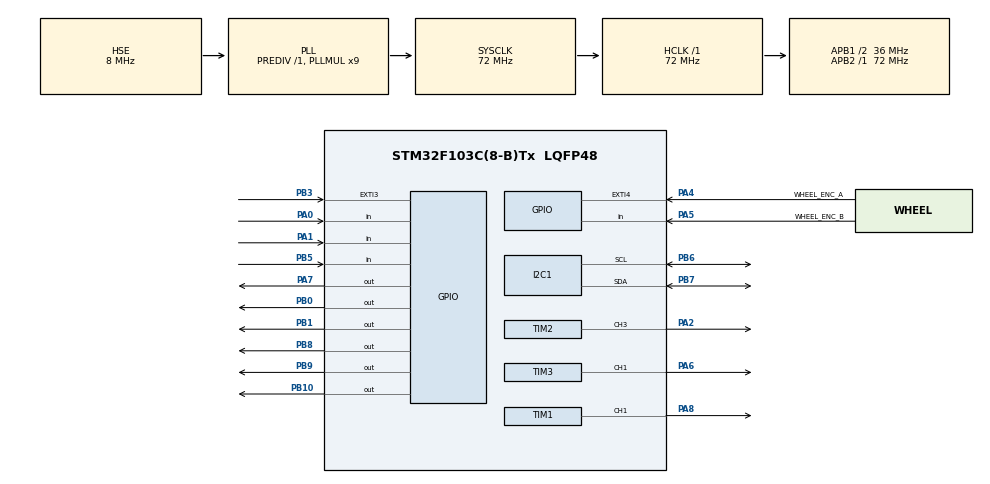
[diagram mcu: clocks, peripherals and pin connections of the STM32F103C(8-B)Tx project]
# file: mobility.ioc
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Mcu.Family=STM32F1
Mcu.Name=STM32F103C(8-B)Tx
Mcu.Package=LQFP48
NVIC.EXTI4_IRQn=true\:5\:0\:true\:false\:true\:true\:true\:true
NVIC.I2C1_ER_IRQn=true\:0\:0\:false\:false\:true\:true\:true\:true
NVIC.I2C1_EV_IRQn=true\:0\:0\:false\:false\:true\:true\:true\:true
NVIC.PriorityGroup=NVIC_PRIORITYGROUP_4
PA0-WKUP.GPIO_PuPd=GPIO_PULLUP
PA0-WKUP.Signal=GPIO_Input
PA1.GPIO_PuPd=GPIO_PULLUP
PA1.Signal=GPIO_Input
PA13.Mode=Serial_Wire
PA13.Signal=SYS_JTMS-SWDIO
PA14.Mode=Serial_Wire
PA14.Signal=SYS_JTCK-SWCLK
PA2.Signal=S_TIM2_CH3
PA4.GPIO_Label=WHEEL_ENC_A
PA4.Signal=GPXTI4
PA5.GPIO_Label=WHEEL_ENC_B
PA5.Signal=GPIO_Input
PA6.Signal=S_TIM3_CH1
PA7.Signal=GPIO_Output
PA8.Signal=S_TIM1_CH1
PB0.Signal=GPIO_Output
PB1.Signal=GPIO_Output
PB10.Signal=GPIO_Output
PB3.Signal=GPXTI3
PB5.Signal=GPIO_Input
PB6.Mode=I2C
PB6.Signal=I2C1_SCL
PB7.Mode=I2C
PB7.Signal=I2C1_SDA
PB8.Signal=GPIO_Output
PB9.Signal=GPIO_Output
PD0-OSC_IN.Mode=HSE-External-Oscillator
PD0-OSC_IN.Signal=RCC_OSC_IN
PD1-OSC_OUT.Mode=HSE-External-Oscillator
PD1-OSC_OUT.Signal=RCC_OSC_OUT
ProjectManager.HeapSize=0x200
ProjectManager.StackSize=0x400
ProjectManager.TargetToolchain=STM32CubeIDE
RCC.AHBFreq_Value=72000000
RCC.APB1CLKDivider=RCC_HCLK_DIV2
RCC.APB1Freq_Value=36000000
RCC.APB1TimFreq_Value=72000000
RCC.APB2Freq_Value=72000000
RCC.APB2TimFreq_Value=72000000
RCC.HCLKFreq_Value=72000000
RCC.PLLMUL=RCC_PLL_MUL9
RCC.PLLSourceVirtual=RCC_PLLSOURCE_HSE
RCC.SYSCLKFreq_VALUE=72000000
RCC.SYSCLKSource=RCC_SYSCLKSOURCE_PLLCLK
RCC.USBFreq_Value=72000000
SH.S_TIM1_CH1.0=TIM1_CH1,PWM Generation1 CH1
SH.S_TIM2_CH3.0=TIM2_CH3,PWM Generation3 CH3
SH.S_TIM3_CH1.0=TIM3_CH1,PWM Generation1 CH1
TIM1.Channel-PWM\ Generation1\ CH1=TIM_CHANNEL_1
TIM1.Period=999
TIM1.Prescaler=71
TIM2.Channel-PWM\ Generation3\ CH3=TIM_CHANNEL_3
TIM2.Period=999
TIM2.Prescaler=71
TIM3.Channel-PWM\ Generation1\ CH1=TIM_CHANNEL_1
TIM3.Period=999
TIM3.Prescaler=71
board=custom

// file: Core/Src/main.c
/* USER CODE BEGIN Header */
/**
  ******************************************************************************
  * @file           : main.c
  * @brief          : Main program body
  ******************************************************************************
  * @attention
  *
  * Copyright (c) 2026 STMicroelectronics.
  * All rights reserved.
  *
  * This software is licensed under terms that can be found in the LICENSE file
  * in the root directory of this software component.
  * If no LICENSE file comes with this software, it is provided AS-IS.
  *
  ******************************************************************************
  */
/* USER CODE END Header */
#include "main.h"

/* USER CODE BEGIN Includes */
#include <stdlib.h>
#include "carrier_test.h"
/* USER CODE END Includes */

I2C_HandleTypeDef hi2c1;

TIM_HandleTypeDef htim1;
TIM_HandleTypeDef htim2;
TIM_HandleTypeDef htim3;

/* USER CODE BEGIN PV */
typedef enum { CORNER_LF = 0, CORNER_RF = 1, CORNER_LR = 2, CORNER_RR = 3 } CornerId;
CornerId cornerId;
uint8_t myAddress;

uint8_t i2c_rx_buf[1];
uint8_t i2c_tx_buf[18];
volatile char lastCommand = 'k';
volatile uint32_t command_received_ms = 0;
volatile uint8_t command_link_error = 0;
volatile uint8_t command_stop_pending = 0;
CarrierTest carrier_test = {0}; /* Live: state/error/clutch_mode/clutch_pwm_percent */
static uint32_t control_tick_ms = 0;

uint8_t currentState = 0;
int16_t outputAngleTenths = 0;
volatile int32_t encoderCount = 0;
volatile int32_t motor2_encoder_count = 0; /* PB3 rising edges, x1 decoding. */

/* USER CODE END PV */

void SystemClock_Config(void);
static void MX_GPIO_Init(void);
static void MX_I2C1_Init(void);
static void MX_TIM1_Init(void);
static void MX_TIM3_Init(void);
static void MX_TIM2_Init(void);
/* USER CODE BEGIN PFP */
void ReadCornerId(void);
void ApplyCommand(char cmd);
void SetMotor(TIM_HandleTypeDef *htim, uint32_t channel,
              GPIO_TypeDef *dir1Port, uint16_t dir1Pin,
              GPIO_TypeDef *dir2Port, uint16_t dir2Pin,
              int16_t speedPercent);
void PrepareStatusBuffer(void);
/* USER CODE END PFP */

/* USER CODE BEGIN 0 */
void ReadCornerId(void)
{
  uint8_t bitA = (HAL_GPIO_ReadPin(GPIOA, GPIO_PIN_0) == GPIO_PIN_RESET) ? 0U : 1U;
  uint8_t bitB = (HAL_GPIO_ReadPin(GPIOA, GPIO_PIN_1) == GPIO_PIN_RESET) ? 0U : 1U;
  cornerId = (CornerId)((bitB << 1) | bitA);
  myAddress = (uint8_t)(0x10U + (uint8_t)cornerId);
}

void SetMotor(TIM_HandleTypeDef *htim, uint32_t channel,
              GPIO_TypeDef *dir1Port, uint16_t dir1Pin,
              GPIO_TypeDef *dir2Port, uint16_t dir2Pin,
              int16_t speedPercent)
{
  if (speedPercent > 100) speedPercent = 100;
  if (speedPercent < -100) speedPercent = -100;

  if (speedPercent > 0) {
    HAL_GPIO_WritePin(dir1Port, dir1Pin, GPIO_PIN_SET);
    HAL_GPIO_WritePin(dir2Port, dir2Pin, GPIO_PIN_RESET);
  } else if (speedPercent < 0) {
    HAL_GPIO_WritePin(dir1Port, dir1Pin, GPIO_PIN_RESET);
    HAL_GPIO_WritePin(dir2Port, dir2Pin, GPIO_PIN_SET);
  } else {
    HAL_GPIO_WritePin(dir1Port, dir1Pin, GPIO_PIN_RESET);
    HAL_GPIO_WritePin(dir2Port, dir2Pin, GPIO_PIN_RESET);
  }

  __HAL_TIM_SET_COMPARE(htim, channel,
      (uint32_t)((abs(speedPercent) * (int32_t)htim->Init.Period) / 100));
}

void ApplyCommand(char cmd)
{
  /* Bench build: motor1 disabled; motor2 and motor3 are mutually interlocked. */
  (void)cmd;
  SetMotor(&htim3, TIM_CHANNEL_1, GPIOA, GPIO_PIN_7, GPIOB, GPIO_PIN_0, 0);
  SetMotor(&htim2, TIM_CHANNEL_3, GPIOB, GPIO_PIN_8, GPIOB, GPIO_PIN_9,
           carrier_test.clutch_pwm_percent);
  SetMotor(&htim1, TIM_CHANNEL_1, GPIOB, GPIO_PIN_1, GPIOB, GPIO_PIN_10,
           carrier_test.pwm_percent);
}

void PrepareStatusBuffer(void)
{
  uint32_t motor2_snapshot = (uint32_t)motor2_encoder_count;
  uint32_t target_snapshot = (uint32_t)carrier_test.target_count;
  uint16_t step_snapshot = (uint16_t)carrier_test.target_step;
  i2c_tx_buf[0] = currentState;
  i2c_tx_buf[1] = (uint8_t)(outputAngleTenths & 0xFF);
  i2c_tx_buf[2] = (uint8_t)(((uint16_t)outputAngleTenths >> 8) & 0xFFU);
  i2c_tx_buf[3] = 7U; /* Motor2 tuning telemetry protocol version. */
  i2c_tx_buf[4] = carrier_test.clutch_mode;
  i2c_tx_buf[5] = (uint8_t)(int8_t)carrier_test.clutch_pwm_percent;
  i2c_tx_buf[6] = carrier_test.error;
  for (uint32_t i = 0; i < 4U; ++i) {
    i2c_tx_buf[7U + i] = (uint8_t)(motor2_snapshot >> (8U * i));
    i2c_tx_buf[11U + i] = (uint8_t)(target_snapshot >> (8U * i));
  }
  i2c_tx_buf[15] = (uint8_t)(int8_t)carrier_test.pwm_percent;
  i2c_tx_buf[16] = (uint8_t)(step_snapshot & 0xFFU);
  i2c_tx_buf[17] = (uint8_t)(step_snapshot >> 8);
}

void HAL_I2C_AddrCallback(I2C_HandleTypeDef *hi2c, uint8_t TransferDirection,
                          uint16_t AddrMatchCode)
{
  (void)AddrMatchCode;
  if (TransferDirection == I2C_DIRECTION_TRANSMIT) {
    HAL_I2C_Slave_Sequential_Receive_IT(hi2c, i2c_rx_buf, 1, I2C_FIRST_AND_LAST_FRAME);
  } else {
    PrepareStatusBuffer();
    HAL_I2C_Slave_Sequential_Transmit_IT(hi2c, i2c_tx_buf, sizeof(i2c_tx_buf), I2C_FIRST_AND_LAST_FRAME);
  }
}

void HAL_I2C_SlaveRxCpltCallback(I2C_HandleTypeDef *hi2c)
{
  lastCommand = (char)i2c_rx_buf[0];
  command_received_ms = HAL_GetTick();
  if (lastCommand == 'k') command_stop_pending = 1;
  if (lastCommand != 'k' && lastCommand != 'a' && lastCommand != 'b' &&
      lastCommand != 'u' && lastCommand != 'o' &&
      lastCommand != 'z' && lastCommand != 'p' &&
      lastCommand != 'n' && lastCommand != 'r' && lastCommand != 'h') command_link_error = 1;
  HAL_I2C_EnableListen_IT(hi2c);
}

void HAL_I2C_SlaveTxCpltCallback(I2C_HandleTypeDef *hi2c)
{
  HAL_I2C_EnableListen_IT(hi2c);
}

void HAL_I2C_ErrorCallback(I2C_HandleTypeDef *hi2c)
{
  command_link_error = 1;
  HAL_I2C_DeInit(hi2c);
  HAL_I2C_Init(hi2c);
  HAL_I2C_EnableListen_IT(hi2c);
}

void HAL_GPIO_EXTI_Callback(uint16_t GPIO_Pin)
{
  if (GPIO_Pin == MOTOR2_ENC_A_Pin)
  {
    /* Explicit wrap avoids signed overflow after prolonged operation. */
    if (HAL_GPIO_ReadPin(MOTOR2_ENC_B_GPIO_Port, MOTOR2_ENC_B_Pin) == GPIO_PIN_RESET) {
      motor2_encoder_count = (motor2_encoder_count == INT32_MAX) ? INT32_MIN : motor2_encoder_count + 1;
    } else {
      motor2_encoder_count = (motor2_encoder_count == INT32_MIN) ? INT32_MAX : motor2_encoder_count - 1;
    }
  }
  if (GPIO_Pin == GPIO_PIN_4)
  {
    if (HAL_GPIO_ReadPin(GPIOA, GPIO_PIN_5) == GPIO_PIN_RESET)
    {
      encoderCount++;
    }
    else
    {
      encoderCount--;
    }
  }
}

/* USER CODE END 0 */

int main(void)
{

  /* MCU Configuration--------------------------------------------------------*/

  /* Reset of all peripherals, Initializes the Flash interface and the Systick. */
  HAL_Init();

  /* Configure the system clock */
  SystemClock_Config();

  /* Initialize all configured peripherals */
  MX_GPIO_Init();
  MX_I2C1_Init();
  MX_TIM1_Init();
  MX_TIM3_Init();
  MX_TIM2_Init();
  /* USER CODE BEGIN 2 */
  ReadCornerId();

  hi2c1.Init.OwnAddress1 = (uint32_t)myAddress << 1;
  if (HAL_I2C_Init(&hi2c1) != HAL_OK)
  {
    Error_Handler();
  }

  ApplyCommand('k');

  if (HAL_TIM_PWM_Start(&htim1, TIM_CHANNEL_1) != HAL_OK) Error_Handler();
  if (HAL_TIM_PWM_Start(&htim2, TIM_CHANNEL_3) != HAL_OK) Error_Handler();
  if (HAL_TIM_PWM_Start(&htim3, TIM_CHANNEL_1) != HAL_OK) Error_Handler();
  if (HAL_I2C_EnableListen_IT(&hi2c1) != HAL_OK) Error_Handler();

  /* USER CODE END 2 */

  /* Infinite loop */
  /* USER CODE BEGIN WHILE */
  while (1)
  {
    uint32_t now = HAL_GetTick();
    if (now - control_tick_ms >= 10U) {
      control_tick_ms = now;
      uint32_t primask = __get_PRIMASK();
      __disable_irq();
      char command = lastCommand;
      uint32_t received = command_received_ms;
      int32_t count = motor2_encoder_count;
      int32_t wheel = encoderCount;
      uint8_t link_error = command_link_error;
      command_link_error = 0;
      if (command_stop_pending) {
        command = 'k';
        command_stop_pending = 0;
      }
      __set_PRIMASK(primask);
      CarrierTick(&carrier_test, now, count, wheel, command, received, link_error);
      ApplyCommand(command);
      /* Publish the pair atomically against I2C status interrupts. */
      primask = __get_PRIMASK();
      __disable_irq();
      currentState = carrier_test.state;
      outputAngleTenths = carrier_test.angle_tenths;
      __set_PRIMASK(primask);
    }

    if (hi2c1.State == HAL_I2C_STATE_READY)
    {
      HAL_I2C_EnableListen_IT(&hi2c1);
    }
    /* USER CODE END WHILE */

  }
}

void SystemClock_Config(void)
{
  RCC_OscInitTypeDef RCC_OscInitStruct = {0};
  RCC_ClkInitTypeDef RCC_ClkInitStruct = {0};

  /** Initializes the RCC Oscillators according to the specified parameters
  * in the RCC_OscInitTypeDef structure.
  */
  RCC_OscInitStruct.OscillatorType = RCC_OSCILLATORTYPE_HSE;
  RCC_OscInitStruct.HSEState = RCC_HSE_ON;
  RCC_OscInitStruct.HSEPredivValue = RCC_HSE_PREDIV_DIV1;
  RCC_OscInitStruct.HSIState = RCC_HSI_ON;
  RCC_OscInitStruct.PLL.PLLState = RCC_PLL_ON;
  RCC_OscInitStruct.PLL.PLLSource = RCC_PLLSOURCE_HSE;
  RCC_OscInitStruct.PLL.PLLMUL = RCC_PLL_MUL9;
  if (HAL_RCC_OscConfig(&RCC_OscInitStruct) != HAL_OK)
  {
    Error_Handler();
  }

  /** Initializes the CPU, AHB and APB buses clocks
  */
  RCC_ClkInitStruct.ClockType = RCC_CLOCKTYPE_HCLK|RCC_CLOCKTYPE_SYSCLK
                              |RCC_CLOCKTYPE_PCLK1|RCC_CLOCKTYPE_PCLK2;
  RCC_ClkInitStruct.SYSCLKSource = RCC_SYSCLKSOURCE_PLLCLK;
  RCC_ClkInitStruct.AHBCLKDivider = RCC_SYSCLK_DIV1;
  RCC_ClkInitStruct.APB1CLKDivider = RCC_HCLK_DIV2;
  RCC_ClkInitStruct.APB2CLKDivider = RCC_HCLK_DIV1;

  if (HAL_RCC_ClockConfig(&RCC_ClkInitStruct, FLASH_LATENCY_2) != HAL_OK)
  {
    Error_Handler();
  }
}

static void MX_I2C1_Init(void)
{

  hi2c1.Instance = I2C1;
  hi2c1.Init.ClockSpeed = 100000;
  hi2c1.Init.DutyCycle = I2C_DUTYCYCLE_2;
  hi2c1.Init.OwnAddress1 = 0;
  hi2c1.Init.AddressingMode = I2C_ADDRESSINGMODE_7BIT;
  hi2c1.Init.DualAddressMode = I2C_DUALADDRESS_DISABLE;
  hi2c1.Init.OwnAddress2 = 0;
  hi2c1.Init.GeneralCallMode = I2C_GENERALCALL_DISABLE;
  hi2c1.Init.NoStretchMode = I2C_NOSTRETCH_DISABLE;
  if (HAL_I2C_Init(&hi2c1) != HAL_OK)
  {
    Error_Handler();
  }

}

static void MX_TIM1_Init(void)
{

  TIM_MasterConfigTypeDef sMasterConfig = {0};
  TIM_OC_InitTypeDef sConfigOC = {0};
  TIM_BreakDeadTimeConfigTypeDef sBreakDeadTimeConfig = {0};

  htim1.Instance = TIM1;
  htim1.Init.Prescaler = 71;
  htim1.Init.CounterMode = TIM_COUNTERMODE_UP;
  htim1.Init.Period = 999;
  htim1.Init.ClockDivision = TIM_CLOCKDIVISION_DIV1;
  htim1.Init.RepetitionCounter = 0;
  htim1.Init.AutoReloadPreload = TIM_AUTORELOAD_PRELOAD_DISABLE;
  if (HAL_TIM_PWM_Init(&htim1) != HAL_OK)
  {
    Error_Handler();
  }
  sMasterConfig.MasterOutputTrigger = TIM_TRGO_RESET;
  sMasterConfig.MasterSlaveMode = TIM_MASTERSLAVEMODE_DISABLE;
  if (HAL_TIMEx_MasterConfigSynchronization(&htim1, &sMasterConfig) != HAL_OK)
  {
    Error_Handler();
  }
  sConfigOC.OCMode = TIM_OCMODE_PWM1;
  sConfigOC.Pulse = 0;
  sConfigOC.OCPolarity = TIM_OCPOLARITY_HIGH;
  sConfigOC.OCNPolarity = TIM_OCNPOLARITY_HIGH;
  sConfigOC.OCFastMode = TIM_OCFAST_DISABLE;
  sConfigOC.OCIdleState = TIM_OCIDLESTATE_RESET;
  sConfigOC.OCNIdleState = TIM_OCNIDLESTATE_RESET;
  if (HAL_TIM_PWM_ConfigChannel(&htim1, &sConfigOC, TIM_CHANNEL_1) != HAL_OK)
  {
    Error_Handler();
  }
  sBreakDeadTimeConfig.OffStateRunMode = TIM_OSSR_DISABLE;
  sBreakDeadTimeConfig.OffStateIDLEMode = TIM_OSSI_DISABLE;
  sBreakDeadTimeConfig.LockLevel = TIM_LOCKLEVEL_OFF;
  sBreakDeadTimeConfig.DeadTime = 0;
  sBreakDeadTimeConfig.BreakState = TIM_BREAK_DISABLE;
  sBreakDeadTimeConfig.BreakPolarity = TIM_BREAKPOLARITY_HIGH;
  sBreakDeadTimeConfig.AutomaticOutput = TIM_AUTOMATICOUTPUT_DISABLE;
  if (HAL_TIMEx_ConfigBreakDeadTime(&htim1, &sBreakDeadTimeConfig) != HAL_OK)
  {
    Error_Handler();
  }
  HAL_TIM_MspPostInit(&htim1);

}

static void MX_TIM2_Init(void)
{

  TIM_MasterConfigTypeDef sMasterConfig = {0};
  TIM_OC_InitTypeDef sConfigOC = {0};

  htim2.Instance = TIM2;
  htim2.Init.Prescaler = 71;
  htim2.Init.CounterMode = TIM_COUNTERMODE_UP;
  htim2.Init.Period = 999;
  htim2.Init.ClockDivision = TIM_CLOCKDIVISION_DIV1;
  htim2.Init.AutoReloadPreload = TIM_AUTORELOAD_PRELOAD_DISABLE;
  if (HAL_TIM_PWM_Init(&htim2) != HAL_OK)
  {
    Error_Handler();
  }
  sMasterConfig.MasterOutputTrigger = TIM_TRGO_RESET;
  sMasterConfig.MasterSlaveMode = TIM_MASTERSLAVEMODE_DISABLE;
  if (HAL_TIMEx_MasterConfigSynchronization(&htim2, &sMasterConfig) != HAL_OK)
  {
    Error_Handler();
  }
  sConfigOC.OCMode = TIM_OCMODE_PWM1;
  sConfigOC.Pulse = 0;
  sConfigOC.OCPolarity = TIM_OCPOLARITY_HIGH;
  sConfigOC.OCFastMode = TIM_OCFAST_DISABLE;
  if (HAL_TIM_PWM_ConfigChannel(&htim2, &sConfigOC, TIM_CHANNEL_3) != HAL_OK)
  {
    Error_Handler();
  }
  HAL_TIM_MspPostInit(&htim2);

}

static void MX_TIM3_Init(void)
{

  TIM_MasterConfigTypeDef sMasterConfig = {0};
  TIM_OC_InitTypeDef sConfigOC = {0};

  htim3.Instance = TIM3;
  htim3.Init.Prescaler = 71;
  htim3.Init.CounterMode = TIM_COUNTERMODE_UP;
  htim3.Init.Period = 999;
  htim3.Init.ClockDivision = TIM_CLOCKDIVISION_DIV1;
  htim3.Init.AutoReloadPreload = TIM_AUTORELOAD_PRELOAD_DISABLE;
  if (HAL_TIM_PWM_Init(&htim3) != HAL_OK)
  {
    Error_Handler();
  }
  sMasterConfig.MasterOutputTrigger = TIM_TRGO_RESET;
  sMasterConfig.MasterSlaveMode = TIM_MASTERSLAVEMODE_DISABLE;
  if (HAL_TIMEx_MasterConfigSynchronization(&htim3, &sMasterConfig) != HAL_OK)
  {
    Error_Handler();
  }
  sConfigOC.OCMode = TIM_OCMODE_PWM1;
  sConfigOC.Pulse = 0;
  sConfigOC.OCPolarity = TIM_OCPOLARITY_HIGH;
  sConfigOC.OCFastMode = TIM_OCFAST_DISABLE;
  if (HAL_TIM_PWM_ConfigChannel(&htim3, &sConfigOC, TIM_CHANNEL_1) != HAL_OK)
  {
    Error_Handler();
  }
  HAL_TIM_MspPostInit(&htim3);

}

static void MX_GPIO_Init(void)
{
  GPIO_InitTypeDef GPIO_InitStruct = {0};

  /* GPIO Ports Clock Enable */
  __HAL_RCC_GPIOD_CLK_ENABLE();
  __HAL_RCC_GPIOA_CLK_ENABLE();
  __HAL_RCC_GPIOB_CLK_ENABLE();

  /*Configure GPIO pin Output Level */
  HAL_GPIO_WritePin(GPIOA, GPIO_PIN_7, GPIO_PIN_RESET);

  /*Configure GPIO pin Output Level */
  HAL_GPIO_WritePin(GPIOB, GPIO_PIN_0|GPIO_PIN_1|GPIO_PIN_10|GPIO_PIN_8
                          |GPIO_PIN_9, GPIO_PIN_RESET);

  /*Configure GPIO pins : PA0 PA1 */
  GPIO_InitStruct.Pin = GPIO_PIN_0|GPIO_PIN_1;
  GPIO_InitStruct.Mode = GPIO_MODE_INPUT;
  GPIO_InitStruct.Pull = GPIO_PULLUP;
  HAL_GPIO_Init(GPIOA, &GPIO_InitStruct);

  /*Configure GPIO pin : WHEEL_ENC_A_Pin */
  GPIO_InitStruct.Pin = WHEEL_ENC_A_Pin;
  GPIO_InitStruct.Mode = GPIO_MODE_IT_RISING;
  GPIO_InitStruct.Pull = GPIO_NOPULL;
  HAL_GPIO_Init(WHEEL_ENC_A_GPIO_Port, &GPIO_InitStruct);

  /*Configure GPIO pin : WHEEL_ENC_B_Pin */
  GPIO_InitStruct.Pin = WHEEL_ENC_B_Pin;
  GPIO_InitStruct.Mode = GPIO_MODE_INPUT;
  GPIO_InitStruct.Pull = GPIO_NOPULL;
  HAL_GPIO_Init(WHEEL_ENC_B_GPIO_Port, &GPIO_InitStruct);

  /*Configure GPIO pin : PA7 */
  GPIO_InitStruct.Pin = GPIO_PIN_7;
  GPIO_InitStruct.Mode = GPIO_MODE_OUTPUT_PP;
  GPIO_InitStruct.Pull = GPIO_NOPULL;
  GPIO_InitStruct.Speed = GPIO_SPEED_FREQ_LOW;
  HAL_GPIO_Init(GPIOA, &GPIO_InitStruct);

  /*Configure GPIO pins : PB0 PB1 PB10 PB8
                           PB9 */
  GPIO_InitStruct.Pin = GPIO_PIN_0|GPIO_PIN_1|GPIO_PIN_10|GPIO_PIN_8
                          |GPIO_PIN_9;
  GPIO_InitStruct.Mode = GPIO_MODE_OUTPUT_PP;
  GPIO_InitStruct.Pull = GPIO_NOPULL;
  GPIO_InitStruct.Speed = GPIO_SPEED_FREQ_LOW;
  HAL_GPIO_Init(GPIOB, &GPIO_InitStruct);

  /* EXTI interrupt init*/
  HAL_NVIC_SetPriority(EXTI4_IRQn, 5, 0);
  HAL_NVIC_EnableIRQ(EXTI4_IRQn);

  /* USER CODE BEGIN MX_GPIO_Init_2 */
  /* PB3 is released from JTAG by HAL_MspInit; SWD remains available. */
  GPIO_InitStruct.Pin = MOTOR2_ENC_B_Pin;
  GPIO_InitStruct.Mode = GPIO_MODE_INPUT;
  GPIO_InitStruct.Pull = GPIO_NOPULL;
  HAL_GPIO_Init(MOTOR2_ENC_B_GPIO_Port, &GPIO_InitStruct);

  GPIO_InitStruct.Pin = MOTOR2_ENC_A_Pin;
  GPIO_InitStruct.Mode = GPIO_MODE_IT_RISING;
  HAL_GPIO_Init(MOTOR2_ENC_A_GPIO_Port, &GPIO_InitStruct);
  HAL_NVIC_SetPriority(EXTI3_IRQn, 5, 0);
  HAL_NVIC_EnableIRQ(EXTI3_IRQn);

  /* USER CODE END MX_GPIO_Init_2 */
}

void Error_Handler(void)
{
  __disable_irq();
  while (1)
  {
  }
}
